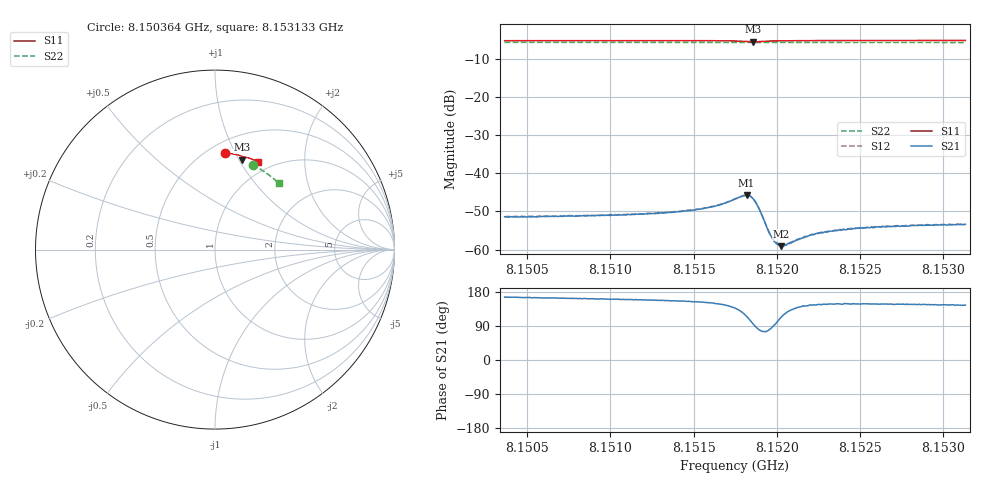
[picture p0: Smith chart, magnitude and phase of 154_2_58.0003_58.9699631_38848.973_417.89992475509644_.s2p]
#  HZ  S  RI  R  50.00
! Rohde & Schwarz Vector Network Analyzer
! Rohde-Schwarz,ZNB20-2Port,1311601062101988,3.16
! Created: UTC 3/21/2024, 12:57:09 AM
! freq[Hz]  re:S11  im:S11  re:S21  im:S21  re:S12  im:S12  re:S22  im:S22
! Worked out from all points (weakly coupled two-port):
!   401 points, 8.150364 GHz to 8.153133 GHz, reference 50 ohm
!   highest |S21| = -45.80 dB at 8.151818 GHz (marker M1); lowest = -59.1 dB at 8.152025 GHz (marker M2)
!   lowest |S11| = -5.6 dB at 8.151859 GHz (marker M3), VSWR 3.20, Z = 37.4 + j51.8 ohm
!   |S11| at or under -10 dB: nowhere
!   |S22| runs from -5.8 to -5.8 dB; largest |S21 - S12| = 0.00012
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8.1503639e9  0.0572 0.5382  -0.00262 0.000647  -0.00262 0.000716  0.2094 0.4709
8.1508278e9  0.09 0.5345  -0.00263 0.000875  -0.00266 0.000905  0.2363 0.4572
8.1512916e9  0.1227 0.5285  -0.00276 0.00115  -0.00278 0.00122  0.2622 0.4423
8.1515478e9  0.1419 0.5232  -0.00303 0.00156  -0.00307 0.00164  0.2762 0.4332
8.1516585e9  0.151 0.5194  -0.00325 0.00208  -0.00327 0.00214  0.2819 0.4292
8.1517485e9  0.1584 0.5131  -0.00336 0.00315  -0.00332 0.00321  0.2866 0.4257
8.1517901e9  0.1603 0.5077  -0.00296 0.00402  -0.00295 0.00406  0.2888 0.4241
8.1518178e9  0.1591 0.5036  -0.0022 0.00463  -0.00216 0.00473  0.29 0.4229
8.1518385e9  0.1563 0.5014  -0.00131 0.00481  -0.00126 0.00492  0.2909 0.4221
8.1518593e9  0.153 0.5014  -0.000361 0.00458  -0.000304 0.00464  0.292 0.4215
8.151887e9  0.1497 0.5045  0.000516 0.00361  0.000557 0.00365  0.2932 0.4206
8.1519424e9  0.1523 0.5119  0.000446 0.00184  0.000455 0.0019  0.2961 0.4188
8.1519701e9  0.1551 0.514  0.000113 0.00145  0.000178 0.00145  0.2976 0.4179
8.1519978e9  0.1581 0.5149  -0.000169 0.00118  -0.000149 0.00124  0.2991 0.4168
8.1520255e9  0.1611 0.5154  -0.000427 0.00103  -0.000423 0.00104  0.3006 0.4158
8.1520601e9  0.1644 0.5153  -0.000685 0.000945  -0.000635 0.000974  0.3025 0.4145
8.152157e9  0.1729 0.5142  -0.00115 0.000861  -0.00112 0.000901  0.3075 0.4107
8.1522124e9  0.1773 0.5131  -0.00131 0.000911  -0.00128 0.000948  0.3102 0.4084
8.1523232e9  0.1858 0.5108  -0.00148 0.000935  -0.00147 0.000945  0.3157 0.404
8.1524339e9  0.1935 0.5084  -0.00158 0.000984  -0.0016 0.00101  0.3212 0.3996
8.1526763e9  0.21 0.5025  -0.00171 0.00109  -0.0017 0.00108  0.3329 0.3895
8.1531332e9  0.2396 0.49  -0.00176 0.00124  -0.00175 0.00127  0.3542 0.3693
